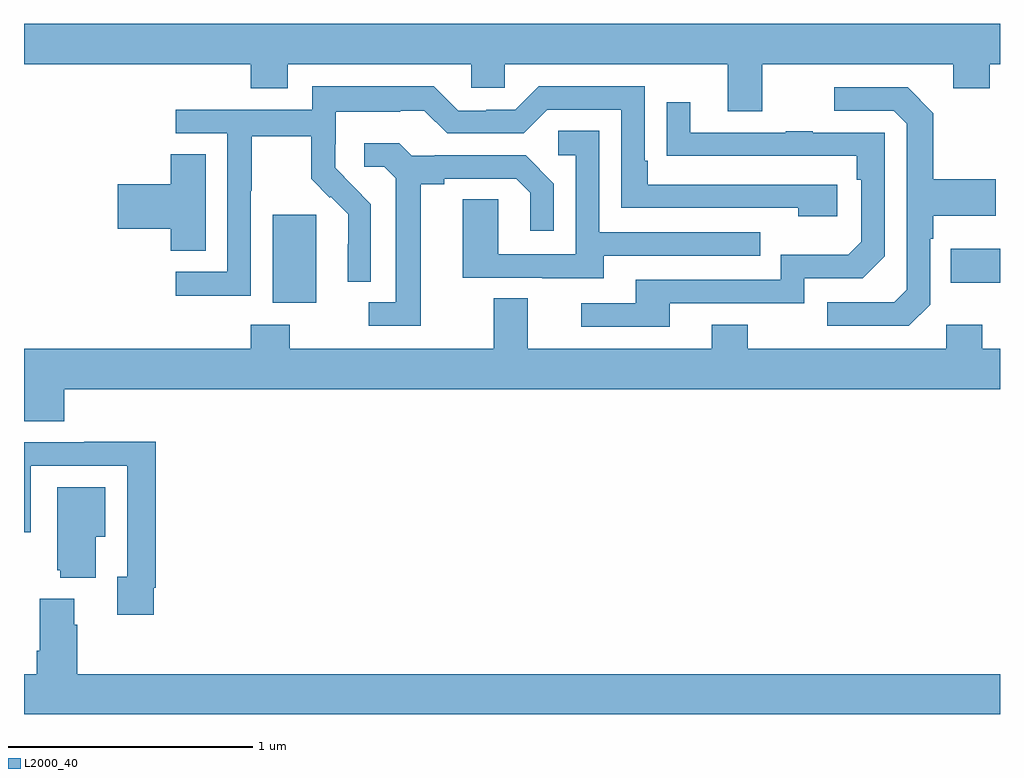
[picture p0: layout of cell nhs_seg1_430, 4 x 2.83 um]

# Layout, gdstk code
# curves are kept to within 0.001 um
import gdstk
lib = gdstk.Library(unit=1e-6, precision=1e-09)
def R(c, l, rs):  # rectangles x0, y0, x1, y1
    for r in rs: c.add(gdstk.rectangle(r[:2], r[2:], *l))
def P(c, l, *ps):  # polygons
    for p in ps: c.add(gdstk.Polygon(p, *l))
L2000_40 = (2000, 40)

nhs_seg1_430 = lib.new_cell('nhs_seg1_430')
R(nhs_seg1_430, L2000_40, [(136.019,524.114,136.198,524.475), (138.799,524.195,139,524.335)])
P(nhs_seg1_430, L2000_40, [(138.025,525.092),(138.809,525.092),(138.809,524.993),(138.957,524.993),(138.957,525.092),(139,525.092),(139,525.256),(135,525.256),(135,525.092),(135.929,525.092),(135.929,524.993),(136.081,524.993),(136.081,525.092),(136.833,525.092),(136.833,524.994),(136.971,524.994),(136.971,525.092),(137.885,525.092),(137.885,524.898),(138.025,524.898)],
  [(135.93,524.572),(135.933,524.572),(135.933,524.796),(136.177,524.796),(136.177,524.621),(136.254,524.544),(136.257,524.547),(136.328,524.477),(136.328,524.354),(136.326,524.354),(136.326,524.2),(136.422,524.2),(136.422,524.518),(136.276,524.666),(136.276,524.763),(136.278,524.763),(136.278,524.897),(136.541,524.897),(136.541,524.901),(136.641,524.901),(136.734,524.808),(137.049,524.808),(137.145,524.904),(137.448,524.904),(137.448,524.502),(138.173,524.502),(138.173,524.468),(138.334,524.468),(138.334,524.598),(137.557,524.598),(137.557,524.695),(137.544,524.695),(137.544,525),(137.109,525),(137.013,524.904),(136.895,524.904),(136.895,524.901),(136.779,524.901),(136.679,525.001),(136.182,525.001),(136.182,524.904),(135.621,524.904),(135.621,524.808),(135.834,524.808),(135.834,524.241),(135.621,524.241),(135.621,524.143),(135.93,524.143)],
  [(138.714,524.106),(138.714,524.375),(138.727,524.375),(138.727,524.471),(138.983,524.471),(138.983,524.619),(138.727,524.619),(138.727,524.891),(138.621,524.997),(138.321,524.997),(138.321,524.901),(138.564,524.901),(138.618,524.847),(138.618,524.166),(138.567,524.115),(138.291,524.115),(138.291,524.019),(138.627,524.019)],
  [(137.647,524.112),(138.198,524.112),(138.198,524.214),(138.438,524.214),(138.528,524.304),(138.528,524.811),(138.233,524.811),(138.233,524.816),(138.121,524.816),(138.121,524.811),(137.731,524.811),(137.731,524.935),(137.635,524.935),(137.635,524.716),(138.412,524.715),(138.412,524.618),(138.432,524.618),(138.432,524.364),(138.379,524.311),(138.102,524.311),(138.102,524.208),(137.507,524.208),(137.507,524.112),(137.283,524.112),(137.283,524.016),(137.647,524.016)],
  [(137.377,524.307),(138.017,524.307),(138.017,524.403),(137.358,524.403),(137.358,524.819),(137.19,524.819),(137.19,524.718),(137.262,524.718),(137.262,524.313),(136.944,524.313),(136.944,524.537),(136.799,524.537),(136.799,524.217),(137.123,524.217),(137.123,524.213),(137.377,524.213)],
  [(136.627,524.6),(136.723,524.6),(136.723,524.622),(137.018,524.622),(137.075,524.565),(137.075,524.409),(137.172,524.409),(137.172,524.602),(137.056,524.718),(136.684,524.718),(136.684,524.715),(136.59,524.715),(136.538,524.767),(136.395,524.767),(136.395,524.67),(136.476,524.67),(136.523,524.623),(136.523,524.115),(136.413,524.115),(136.413,524.019),(136.627,524.019)],
  [(135.745,524.723),(135.602,524.723),(135.602,524.6),(135.384,524.6),(135.384,524.417),(135.602,524.417),(135.602,524.326),(135.745,524.326)],
  [(135.164,523.76),(139,523.76),(139,523.924),(138.927,523.924),(138.927,524.023),(138.78,524.023),(138.78,523.924),(137.967,523.924),(137.967,524.023),(137.819,524.023),(137.819,523.924),(137.065,523.924),(137.065,524.132),(136.925,524.132),(136.925,523.924),(136.089,523.924),(136.089,524.023),(135.929,524.023),(135.929,523.924),(135,523.924),(135,523.627),(135.164,523.627)],
  [(135.532,522.946),(135.539,522.946),(135.539,523.544),(135.247,523.544),(135.247,523.542),(135,523.542),(135,523.173),(135.027,523.173),(135.027,523.446),(135.423,523.446),(135.423,522.99),(135.383,522.99),(135.383,522.834),(135.532,522.834)],
  [(135.295,523.154),(135.334,523.154),(135.334,523.357),(135.137,523.357),(135.137,523.017),(135.149,523.017),(135.149,522.986),(135.295,522.986)],
  [(135.205,522.794),(135.205,522.901),(135.065,522.901),(135.065,522.688),(135.053,522.688),(135.053,522.592),(135,522.592),(135,522.428),(139,522.428),(139,522.592),(135.218,522.592),(135.218,522.794)])

lib.write_gds('nhs_seg1_430.gds')
